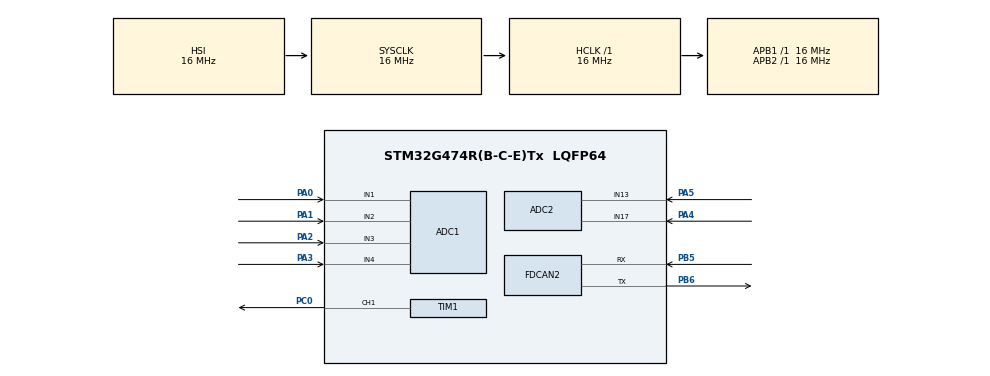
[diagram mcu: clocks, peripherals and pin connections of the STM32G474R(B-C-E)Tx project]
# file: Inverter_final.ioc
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ADC1.Channel-0\#ChannelRegularConversion=ADC_CHANNEL_1
ADC1.Channel-1\#ChannelRegularConversion=ADC_CHANNEL_2
ADC1.Channel-2\#ChannelRegularConversion=ADC_CHANNEL_3
ADC1.Channel-3\#ChannelRegularConversion=ADC_CHANNEL_4
ADC1.ContinuousConvMode=ENABLE
ADC1.DMAContinuousRequests=ENABLE
ADC1.EOCSelection=ADC_EOC_SEQ_CONV
ADC1.NbrOfConversion=4
ADC1.NbrOfConversionFlag=1
ADC1.OffsetNumber-0\#ChannelRegularConversion=ADC_OFFSET_NONE
ADC1.OffsetNumber-1\#ChannelRegularConversion=ADC_OFFSET_NONE
ADC1.OffsetNumber-2\#ChannelRegularConversion=ADC_OFFSET_NONE
ADC1.OffsetNumber-3\#ChannelRegularConversion=ADC_OFFSET_NONE
ADC1.Overrun=ADC_OVR_DATA_OVERWRITTEN
ADC1.Rank-0\#ChannelRegularConversion=1
ADC1.Rank-1\#ChannelRegularConversion=2
ADC1.Rank-2\#ChannelRegularConversion=3
ADC1.Rank-3\#ChannelRegularConversion=4
ADC1.SamplingTime-0\#ChannelRegularConversion=ADC_SAMPLETIME_2CYCLES_5
ADC1.SamplingTime-1\#ChannelRegularConversion=ADC_SAMPLETIME_2CYCLES_5
ADC1.SamplingTime-2\#ChannelRegularConversion=ADC_SAMPLETIME_2CYCLES_5
ADC1.SamplingTime-3\#ChannelRegularConversion=ADC_SAMPLETIME_2CYCLES_5
ADC1.master=1
ADC2.Channel-0\#ChannelRegularConversion=ADC_CHANNEL_17
ADC2.Channel-1\#ChannelRegularConversion=ADC_CHANNEL_13
ADC2.ContinuousConvMode=ENABLE
ADC2.DMAContinuousRequests=ENABLE
ADC2.NbrOfConversion=2
ADC2.NbrOfConversionFlag=1
ADC2.OffsetNumber-0\#ChannelRegularConversion=ADC_OFFSET_NONE
ADC2.OffsetNumber-1\#ChannelRegularConversion=ADC_OFFSET_NONE
ADC2.Overrun=ADC_OVR_DATA_OVERWRITTEN
ADC2.Rank-0\#ChannelRegularConversion=1
ADC2.Rank-1\#ChannelRegularConversion=2
ADC2.SamplingTime-0\#ChannelRegularConversion=ADC_SAMPLETIME_2CYCLES_5
ADC2.SamplingTime-1\#ChannelRegularConversion=ADC_SAMPLETIME_2CYCLES_5
Dma.ADC1.0.Direction=DMA_PERIPH_TO_MEMORY
Dma.ADC1.0.EventEnable=DISABLE
Dma.ADC1.0.Instance=DMA1_Channel1
Dma.ADC1.0.MemDataAlignment=DMA_MDATAALIGN_WORD
Dma.ADC1.0.MemInc=DMA_MINC_ENABLE
Dma.ADC1.0.Mode=DMA_NORMAL
Dma.ADC1.0.PeriphDataAlignment=DMA_PDATAALIGN_WORD
Dma.ADC1.0.PeriphInc=DMA_PINC_DISABLE
Dma.ADC1.0.Polarity=HAL_DMAMUX_REQ_GEN_RISING
Dma.ADC1.0.Priority=DMA_PRIORITY_HIGH
Dma.ADC1.0.RequestNumber=1
Dma.ADC1.0.SignalID=NONE
Dma.ADC1.0.SyncEnable=DISABLE
Dma.ADC1.0.SyncPolarity=HAL_DMAMUX_SYNC_NO_EVENT
Dma.ADC1.0.SyncRequestNumber=1
Dma.ADC1.0.SyncSignalID=NONE
Dma.ADC2.1.Direction=DMA_PERIPH_TO_MEMORY
Dma.ADC2.1.EventEnable=DISABLE
Dma.ADC2.1.Instance=DMA1_Channel2
Dma.ADC2.1.MemDataAlignment=DMA_MDATAALIGN_WORD
Dma.ADC2.1.MemInc=DMA_MINC_ENABLE
Dma.ADC2.1.Mode=DMA_NORMAL
Dma.ADC2.1.PeriphDataAlignment=DMA_PDATAALIGN_WORD
Dma.ADC2.1.PeriphInc=DMA_PINC_DISABLE
Dma.ADC2.1.Polarity=HAL_DMAMUX_REQ_GEN_RISING
Dma.ADC2.1.Priority=DMA_PRIORITY_HIGH
Dma.ADC2.1.RequestNumber=1
Dma.ADC2.1.SignalID=NONE
Dma.ADC2.1.SyncEnable=DISABLE
Dma.ADC2.1.SyncPolarity=HAL_DMAMUX_SYNC_NO_EVENT
Dma.ADC2.1.SyncRequestNumber=1
Dma.ADC2.1.SyncSignalID=NONE
Dma.Request0=ADC1
Dma.Request1=ADC2
FDCAN2.CalculateBaudRateNominal=200000
FDCAN2.CalculateTimeBitNominal=5000
FDCAN2.CalculateTimeQuantumNominal=1000.0
FREERTOS.BinarySemaphores01=myBinarySem01,Dynamic,NULL,Available;myBinarySem02,Dynamic,NULL,Available
FREERTOS.HEAP_NUMBER=5
FREERTOS.INCLUDE_vTaskCleanUpResources=1
FREERTOS.Tasks01=defaultTask,0,126,StartDefaultTask,Default,NULL,Dynamic,NULL,NULL;myTask02,0,126,StartTask02,Default,NULL,Dynamic,NULL,NULL
FREERTOS.configENABLE_FPU=0
FREERTOS.configGENERATE_RUN_TIME_STATS=1
FREERTOS.configMINIMAL_STACK_SIZE=126
FREERTOS.configTOTAL_HEAP_SIZE=4000
FREERTOS.configUSE_NEWLIB_REENTRANT=1
FREERTOS.configUSE_TICK_HOOK=0
Mcu.Family=STM32G4
Mcu.Name=STM32G474R(B-C-E)Tx
Mcu.Package=LQFP64
NVIC.DMA1_Channel1_IRQn=true\:5\:0\:false\:false\:true\:true\:false\:true\:true
NVIC.DMA1_Channel2_IRQn=true\:5\:0\:false\:false\:true\:true\:false\:true\:true
NVIC.FDCAN2_IT0_IRQn=true\:5\:0\:false\:false\:true\:true\:true\:true\:true
NVIC.FDCAN2_IT1_IRQn=true\:5\:0\:false\:false\:true\:true\:true\:true\:true
NVIC.PriorityGroup=NVIC_PRIORITYGROUP_4
PA0.Mode=IN1-Single-Ended
PA0.Signal=ADC1_IN1
PA1.Mode=IN2-Single-Ended
PA1.Signal=ADC1_IN2
PA2.Mode=IN3-Single-Ended
PA2.Signal=ADC1_IN3
PA3.Mode=IN4-Single-Ended
PA3.Signal=ADC1_IN4
PA4.Mode=IN17-Single-Ended
PA4.Signal=ADC2_IN17
PA5.Mode=IN13-Single-Ended
PA5.Signal=ADC2_IN13
PB5.Mode=FDCAN_Activate
PB5.Signal=FDCAN2_RX
PB6.Mode=FDCAN_Activate
PB6.Signal=FDCAN2_TX
PC0.Signal=S_TIM1_CH1
ProjectManager.HeapSize=0x200
ProjectManager.StackSize=0x400
ProjectManager.TargetToolchain=STM32CubeIDE
RCC.AHBFreq_Value=16000000
RCC.APB1Freq_Value=16000000
RCC.APB1TimFreq_Value=16000000
RCC.APB2Freq_Value=16000000
RCC.APB2TimFreq_Value=16000000
RCC.CortexFreq_Value=16000000
RCC.EXTERNAL_CLOCK_VALUE=12288000
RCC.HCLKFreq_Value=16000000
RCC.HSE_VALUE=8000000
RCC.HSI48_VALUE=48000000
RCC.HSI_VALUE=16000000
RCC.LSE_VALUE=32768
RCC.SYSCLKFreq_VALUE=16000000
RCC.USBFreq_Value=64000000
RCC.VCOOutputFreq_Value=128000000
SH.S_TIM1_CH1.0=TIM1_CH1,PWM Generation1 CH1
TIM1.Channel-PWM\ Generation1\ CH1=TIM_CHANNEL_1
VP_FREERTOS_VS_CMSIS_V1.Mode=CMSIS_V1
VP_SYS_VS_DBSignals.Mode=DisableDeadBatterySignals
board=custom

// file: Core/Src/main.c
/* USER CODE BEGIN Header */
/**
  ******************************************************************************
  * @file           : main.c
  * @brief          : Main program body
  ******************************************************************************
  * @attention
  *
  * Copyright (c) 2024 STMicroelectronics.
  * All rights reserved.
  *
  * This software is licensed under terms that can be found in the LICENSE file
  * in the root directory of this software component.
  * If no LICENSE file comes with this software, it is provided AS-IS.
  *
  ******************************************************************************
  */
/* USER CODE END Header */
#include "main.h"
#include "cmsis_os.h"

ADC_HandleTypeDef hadc1;
ADC_HandleTypeDef hadc2;
DMA_HandleTypeDef hdma_adc1;
DMA_HandleTypeDef hdma_adc2;

FDCAN_HandleTypeDef hfdcan2;

TIM_HandleTypeDef htim1;

osThreadId defaultTaskHandle;
osThreadId myTask02Handle;
osSemaphoreId myBinarySem01Handle;
osSemaphoreId myBinarySem02Handle;

void SystemClock_Config(void);
static void MX_GPIO_Init(void);
static void MX_DMA_Init(void);
static void MX_ADC1_Init(void);
static void MX_ADC2_Init(void);
static void MX_FDCAN2_Init(void);
static void MX_TIM1_Init(void);
void StartDefaultTask(void const * argument);
void StartTask02(void const * argument);

/* USER CODE BEGIN PFP */
uint32_t adc_values[7];
uint32_t txData[8];
/* USER CODE END PFP */
int flag;
int a = 1;
int b;
int c;
int d = 1;
int e;
int Cycle;
/* USER CODE END PFP */

int main(void)
{

  /* MCU Configuration--------------------------------------------------------*/

  /* Reset of all peripherals, Initializes the Flash interface and the Systick. */
  HAL_Init();

  /* Configure the system clock */
  SystemClock_Config();

  /* Initialize all configured peripherals */
  MX_GPIO_Init();
  MX_DMA_Init();
  MX_ADC1_Init();
  MX_ADC2_Init();
  MX_FDCAN2_Init();
  MX_TIM1_Init();

  a++;
  /* Create the semaphores(s) */
  /* definition and creation of myBinarySem01 */

  /* Create the thread(s) */
  /* definition and creation of defaultTask */
  osThreadDef(defaultTask, StartDefaultTask, osPriorityNormal, 0, 126);
  defaultTaskHandle = osThreadCreate(osThread(defaultTask), NULL);

  /* definition and creation of myTask02 */
  osThreadDef(myTask02, StartTask02, osPriorityNormal, 0, 126);
  myTask02Handle = osThreadCreate(osThread(myTask02), NULL);

a++;
  /* Start scheduler */
  osKernelStart();

  /* We should never get here as control is now taken by the scheduler */

  /* Infinite loop */
  while (1)
  {

  }
}

void SystemClock_Config(void)
{
  RCC_OscInitTypeDef RCC_OscInitStruct = {0};
  RCC_ClkInitTypeDef RCC_ClkInitStruct = {0};

  /** Configure the main internal regulator output voltage
  */
  HAL_PWREx_ControlVoltageScaling(PWR_REGULATOR_VOLTAGE_SCALE1);

  /** Initializes the RCC Oscillators according to the specified parameters
  * in the RCC_OscInitTypeDef structure.
  */
  RCC_OscInitStruct.OscillatorType = RCC_OSCILLATORTYPE_HSI;
  RCC_OscInitStruct.HSIState = RCC_HSI_ON;
  RCC_OscInitStruct.HSICalibrationValue = RCC_HSICALIBRATION_DEFAULT;
  RCC_OscInitStruct.PLL.PLLState = RCC_PLL_NONE;
  if (HAL_RCC_OscConfig(&RCC_OscInitStruct) != HAL_OK)
  {
    Error_Handler();
  }

  /** Initializes the CPU, AHB and APB buses clocks
  */
  RCC_ClkInitStruct.ClockType = RCC_CLOCKTYPE_HCLK|RCC_CLOCKTYPE_SYSCLK
                              |RCC_CLOCKTYPE_PCLK1|RCC_CLOCKTYPE_PCLK2;
  RCC_ClkInitStruct.SYSCLKSource = RCC_SYSCLKSOURCE_HSI;
  RCC_ClkInitStruct.AHBCLKDivider = RCC_SYSCLK_DIV1;
  RCC_ClkInitStruct.APB1CLKDivider = RCC_HCLK_DIV1;
  RCC_ClkInitStruct.APB2CLKDivider = RCC_HCLK_DIV1;

  if (HAL_RCC_ClockConfig(&RCC_ClkInitStruct, FLASH_LATENCY_0) != HAL_OK)
  {
    Error_Handler();
  }
}

static void MX_ADC1_Init(void)
{

  ADC_MultiModeTypeDef multimode = {0};
  ADC_ChannelConfTypeDef sConfig = {0};

  /** Common config
  */
  hadc1.Instance = ADC1;
  hadc1.Init.ClockPrescaler = ADC_CLOCK_SYNC_PCLK_DIV2;
  hadc1.Init.Resolution = ADC_RESOLUTION_12B;
  hadc1.Init.DataAlign = ADC_DATAALIGN_RIGHT;
  hadc1.Init.GainCompensation = 0;
  hadc1.Init.ScanConvMode = ADC_SCAN_ENABLE;
  hadc1.Init.EOCSelection = ADC_EOC_SEQ_CONV;
  hadc1.Init.LowPowerAutoWait = DISABLE;
  hadc1.Init.ContinuousConvMode = ENABLE;
  hadc1.Init.NbrOfConversion = 4;
  hadc1.Init.DiscontinuousConvMode = DISABLE;
  hadc1.Init.ExternalTrigConv = ADC_SOFTWARE_START;
  hadc1.Init.ExternalTrigConvEdge = ADC_EXTERNALTRIGCONVEDGE_NONE;
  hadc1.Init.DMAContinuousRequests = ENABLE;
  hadc1.Init.Overrun = ADC_OVR_DATA_OVERWRITTEN;
  hadc1.Init.OversamplingMode = DISABLE;
  if (HAL_ADC_Init(&hadc1) != HAL_OK)
  {
    Error_Handler();
  }

  /** Configure the ADC multi-mode
  */
  multimode.Mode = ADC_MODE_INDEPENDENT;
  if (HAL_ADCEx_MultiModeConfigChannel(&hadc1, &multimode) != HAL_OK)
  {
    Error_Handler();
  }

  /** Configure Regular Channel
  */
  sConfig.Channel = ADC_CHANNEL_1;
  sConfig.Rank = ADC_REGULAR_RANK_1;
  sConfig.SamplingTime = ADC_SAMPLETIME_2CYCLES_5;
  sConfig.SingleDiff = ADC_SINGLE_ENDED;
  sConfig.OffsetNumber = ADC_OFFSET_NONE;
  sConfig.Offset = 0;
  if (HAL_ADC_ConfigChannel(&hadc1, &sConfig) != HAL_OK)
  {
    Error_Handler();
  }

  /** Configure Regular Channel
  */
  sConfig.Channel = ADC_CHANNEL_2;
  sConfig.Rank = ADC_REGULAR_RANK_2;
  if (HAL_ADC_ConfigChannel(&hadc1, &sConfig) != HAL_OK)
  {
    Error_Handler();
  }

  /** Configure Regular Channel
  */
  sConfig.Channel = ADC_CHANNEL_3;
  sConfig.Rank = ADC_REGULAR_RANK_3;
  if (HAL_ADC_ConfigChannel(&hadc1, &sConfig) != HAL_OK)
  {
    Error_Handler();
  }

  /** Configure Regular Channel
  */
  sConfig.Channel = ADC_CHANNEL_4;
  sConfig.Rank = ADC_REGULAR_RANK_4;
  if (HAL_ADC_ConfigChannel(&hadc1, &sConfig) != HAL_OK)
  {
    Error_Handler();
  }

}

static void MX_ADC2_Init(void)
{

  ADC_ChannelConfTypeDef sConfig = {0};

  /** Common config
  */
  hadc2.Instance = ADC2;
  hadc2.Init.ClockPrescaler = ADC_CLOCK_SYNC_PCLK_DIV2;
  hadc2.Init.Resolution = ADC_RESOLUTION_12B;
  hadc2.Init.DataAlign = ADC_DATAALIGN_RIGHT;
  hadc2.Init.GainCompensation = 0;
  hadc2.Init.ScanConvMode = ADC_SCAN_ENABLE;
  hadc2.Init.EOCSelection = ADC_EOC_SINGLE_CONV;
  hadc2.Init.LowPowerAutoWait = DISABLE;
  hadc2.Init.ContinuousConvMode = ENABLE;
  hadc2.Init.NbrOfConversion = 2;
  hadc2.Init.DiscontinuousConvMode = DISABLE;
  hadc2.Init.ExternalTrigConv = ADC_SOFTWARE_START;
  hadc2.Init.ExternalTrigConvEdge = ADC_EXTERNALTRIGCONVEDGE_NONE;
  hadc2.Init.DMAContinuousRequests = ENABLE;
  hadc2.Init.Overrun = ADC_OVR_DATA_OVERWRITTEN;
  hadc2.Init.OversamplingMode = DISABLE;
  if (HAL_ADC_Init(&hadc2) != HAL_OK)
  {
    Error_Handler();
  }

  /** Configure Regular Channel
  */
  sConfig.Channel = ADC_CHANNEL_17;
  sConfig.Rank = ADC_REGULAR_RANK_1;
  sConfig.SamplingTime = ADC_SAMPLETIME_2CYCLES_5;
  sConfig.SingleDiff = ADC_SINGLE_ENDED;
  sConfig.OffsetNumber = ADC_OFFSET_NONE;
  sConfig.Offset = 0;
  if (HAL_ADC_ConfigChannel(&hadc2, &sConfig) != HAL_OK)
  {
    Error_Handler();
  }

  /** Configure Regular Channel
  */
  sConfig.Channel = ADC_CHANNEL_13;
  sConfig.Rank = ADC_REGULAR_RANK_2;
  if (HAL_ADC_ConfigChannel(&hadc2, &sConfig) != HAL_OK)
  {
    Error_Handler();
  }

}

static void MX_FDCAN2_Init(void)
{

  hfdcan2.Instance = FDCAN2;
  hfdcan2.Init.ClockDivider = FDCAN_CLOCK_DIV1;
  hfdcan2.Init.FrameFormat = FDCAN_FRAME_CLASSIC;
  hfdcan2.Init.Mode = FDCAN_MODE_NORMAL;
  hfdcan2.Init.AutoRetransmission = DISABLE;
  hfdcan2.Init.TransmitPause = DISABLE;
  hfdcan2.Init.ProtocolException = DISABLE;
  hfdcan2.Init.NominalPrescaler = 16;
  hfdcan2.Init.NominalSyncJumpWidth = 1;
  hfdcan2.Init.NominalTimeSeg1 = 2;
  hfdcan2.Init.NominalTimeSeg2 = 2;
  hfdcan2.Init.DataPrescaler = 1;
  hfdcan2.Init.DataSyncJumpWidth = 1;
  hfdcan2.Init.DataTimeSeg1 = 1;
  hfdcan2.Init.DataTimeSeg2 = 1;
  hfdcan2.Init.StdFiltersNbr = 0;
  hfdcan2.Init.ExtFiltersNbr = 0;
  hfdcan2.Init.TxFifoQueueMode = FDCAN_TX_FIFO_OPERATION;
  if (HAL_FDCAN_Init(&hfdcan2) != HAL_OK)
  {
    Error_Handler();
  }

}

static void MX_TIM1_Init(void)
{

  TIM_MasterConfigTypeDef sMasterConfig = {0};
  TIM_OC_InitTypeDef sConfigOC = {0};
  TIM_BreakDeadTimeConfigTypeDef sBreakDeadTimeConfig = {0};

  htim1.Instance = TIM1;
  htim1.Init.Prescaler = 0;
  htim1.Init.CounterMode = TIM_COUNTERMODE_UP;
  htim1.Init.Period = 65535;
  htim1.Init.ClockDivision = TIM_CLOCKDIVISION_DIV1;
  htim1.Init.RepetitionCounter = 0;
  htim1.Init.AutoReloadPreload = TIM_AUTORELOAD_PRELOAD_DISABLE;
  if (HAL_TIM_PWM_Init(&htim1) != HAL_OK)
  {
    Error_Handler();
  }
  sMasterConfig.MasterOutputTrigger = TIM_TRGO_RESET;
  sMasterConfig.MasterOutputTrigger2 = TIM_TRGO2_RESET;
  sMasterConfig.MasterSlaveMode = TIM_MASTERSLAVEMODE_DISABLE;
  if (HAL_TIMEx_MasterConfigSynchronization(&htim1, &sMasterConfig) != HAL_OK)
  {
    Error_Handler();
  }
  sConfigOC.OCMode = TIM_OCMODE_PWM1;
  sConfigOC.Pulse = 0;
  sConfigOC.OCPolarity = TIM_OCPOLARITY_HIGH;
  sConfigOC.OCNPolarity = TIM_OCNPOLARITY_HIGH;
  sConfigOC.OCFastMode = TIM_OCFAST_DISABLE;
  sConfigOC.OCIdleState = TIM_OCIDLESTATE_RESET;
  sConfigOC.OCNIdleState = TIM_OCNIDLESTATE_RESET;
  if (HAL_TIM_PWM_ConfigChannel(&htim1, &sConfigOC, TIM_CHANNEL_1) != HAL_OK)
  {
    Error_Handler();
  }
  sBreakDeadTimeConfig.OffStateRunMode = TIM_OSSR_DISABLE;
  sBreakDeadTimeConfig.OffStateIDLEMode = TIM_OSSI_DISABLE;
  sBreakDeadTimeConfig.LockLevel = TIM_LOCKLEVEL_OFF;
  sBreakDeadTimeConfig.DeadTime = 0;
  sBreakDeadTimeConfig.BreakState = TIM_BREAK_DISABLE;
  sBreakDeadTimeConfig.BreakPolarity = TIM_BREAKPOLARITY_HIGH;
  sBreakDeadTimeConfig.BreakFilter = 0;
  sBreakDeadTimeConfig.BreakAFMode = TIM_BREAK_AFMODE_INPUT;
  sBreakDeadTimeConfig.Break2State = TIM_BREAK2_DISABLE;
  sBreakDeadTimeConfig.Break2Polarity = TIM_BREAK2POLARITY_HIGH;
  sBreakDeadTimeConfig.Break2Filter = 0;
  sBreakDeadTimeConfig.Break2AFMode = TIM_BREAK_AFMODE_INPUT;
  sBreakDeadTimeConfig.AutomaticOutput = TIM_AUTOMATICOUTPUT_DISABLE;
  if (HAL_TIMEx_ConfigBreakDeadTime(&htim1, &sBreakDeadTimeConfig) != HAL_OK)
  {
    Error_Handler();
  }
  HAL_TIM_MspPostInit(&htim1);

}

static void MX_DMA_Init(void)
{

  /* DMA controller clock enable */
  __HAL_RCC_DMAMUX1_CLK_ENABLE();
  __HAL_RCC_DMA1_CLK_ENABLE();

  /* DMA interrupt init */
  /* DMA1_Channel1_IRQn interrupt configuration */
  HAL_NVIC_SetPriority(DMA1_Channel1_IRQn, 5, 0);
  HAL_NVIC_EnableIRQ(DMA1_Channel1_IRQn);
  /* DMA1_Channel2_IRQn interrupt configuration */
  HAL_NVIC_SetPriority(DMA1_Channel2_IRQn, 5, 0);
  HAL_NVIC_EnableIRQ(DMA1_Channel2_IRQn);

}

static void MX_GPIO_Init(void)
{

  /* GPIO Ports Clock Enable */
  __HAL_RCC_GPIOC_CLK_ENABLE();
  __HAL_RCC_GPIOA_CLK_ENABLE();
  __HAL_RCC_GPIOB_CLK_ENABLE();

}

/* USER CODE BEGIN Header_StartDefaultTask */
/**
  * @brief  Function implementing the defaultTask thread.
  * @param  argument: Not used
  * @retval None
  */

void FDCAN_Transmit(uint32_t *data, uint8_t length) {
    FDCAN_TxHeaderTypeDef txHeader;
    c++;

    // Fill TxHeader
    txHeader.Identifier = 0x123; // Example CAN ID
    txHeader.IdType = FDCAN_STANDARD_ID;
    txHeader.TxFrameType = FDCAN_DATA_FRAME;
    txHeader.DataLength = FDCAN_DLC_BYTES_8;
    txHeader.ErrorStateIndicator = FDCAN_ESI_ACTIVE;
    txHeader.BitRateSwitch = FDCAN_BRS_ON;
    txHeader.FDFormat = FDCAN_FD_CAN;
    txHeader.TxEventFifoControl = FDCAN_NO_TX_EVENTS;
    txHeader.MessageMarker = 0;

    // Copy data into txData (convert to bytes)
    for (uint8_t i = 0; i < length && i < 8; i++) {
        txData[i] = (uint8_t)(data[i] & 0xFF);
    }

    // Transmit
    if (HAL_FDCAN_AddMessageToTxFifoQ(&hfdcan2, &txHeader, (uint8_t *)txData) != HAL_OK) {
        flag = 1;
    }
    e++;
}

void Read_ADC_And_Send(void) {
	FDCAN_Transmit((uint32_t *)adc_values, 6);
}

void Set_PWM_DutyCycle(uint16_t dutyCycle) {
    if (dutyCycle > 65535) {
        dutyCycle = 65535;
    }
    __HAL_TIM_SET_COMPARE(&htim1, TIM_CHANNEL_1, dutyCycle);
}

/* USER CODE END Header_StartDefaultTask */
void StartDefaultTask(void const * argument)
{
  /* USER CODE BEGIN 5 */
	a++;
	HAL_ADC_Start_DMA(&hadc1, (uint32_t *)adc_values, 5);
	HAL_ADC_Start_DMA(&hadc2, (uint32_t *)(adc_values + 5), 1);
  /* Infinite loop */
  for(;;)
  {

	  Read_ADC_And_Send();

	  	  if (a > 65535) {
	  	          a = 0;
	  	      }
	  	  Set_PWM_DutyCycle(a);

/*
	  if (HAL_ADC_PollForConversion(&hadc1, HAL_MAX_DELAY) == HAL_OK) {
	          // Read the ADC values for each channel
	          adc_values[0] = HAL_ADC_GetValue(&hadc1); // ADC_CHANNEL_2 (Rank 1)

	          // Read the next channel in the sequence
	          if (HAL_ADC_PollForConversion(&hadc1, HAL_MAX_DELAY) == HAL_OK) {
	              adc_values[1] = HAL_ADC_GetValue(&hadc1); // ADC_CHANNEL_10 (Rank 2)
	          }

	          if (HAL_ADC_PollForConversion(&hadc1, HAL_MAX_DELAY) == HAL_OK) {
	              adc_values[2] = HAL_ADC_GetValue(&hadc1); // ADC_CHANNEL_12 (Rank 3)
	          }
	          if (HAL_ADC_PollForConversion(&hadc1, HAL_MAX_DELAY) == HAL_OK) {
	          	  adc_values[3] = HAL_ADC_GetValue(&hadc1); // ADC_CHANNEL_12 (Rank 3)
	          }
	      }

	  FDCAN_Transmit(adc_values, 3);
	  */
  }
  /* USER CODE END 5 */
}

void StartTask02(void const * argument)
{
  /* USER CODE BEGIN StartTask02 */

	//HAL_ADC_Start(&hadc2);
  /* Infinite loop */
  for(;;)
  {

	  Cycle++;

	  a = Cycle - e;

	  /*
	  if (HAL_ADC_PollForConversion(&hadc2, HAL_MAX_DELAY) == HAL_OK) {
	  	          // Read the ADC values for each channel
	  	          adc_values[4] = HAL_ADC_GetValue(&hadc2); // ADC_CHANNEL_2 (Rank 1)

	  	          // Read the next channel in the sequence
	  	          if (HAL_ADC_PollForConversion(&hadc1, HAL_MAX_DELAY) == HAL_OK) {
	  	              adc_values[5] = HAL_ADC_GetValue(&hadc2); // ADC_CHANNEL_10 (Rank 2)
	  	          }
	  	      }
  */
	  }
  /* USER CODE END StartTask02 */
}

void Error_Handler(void)
{
  __disable_irq();
  while (1)
  {
  }
}
